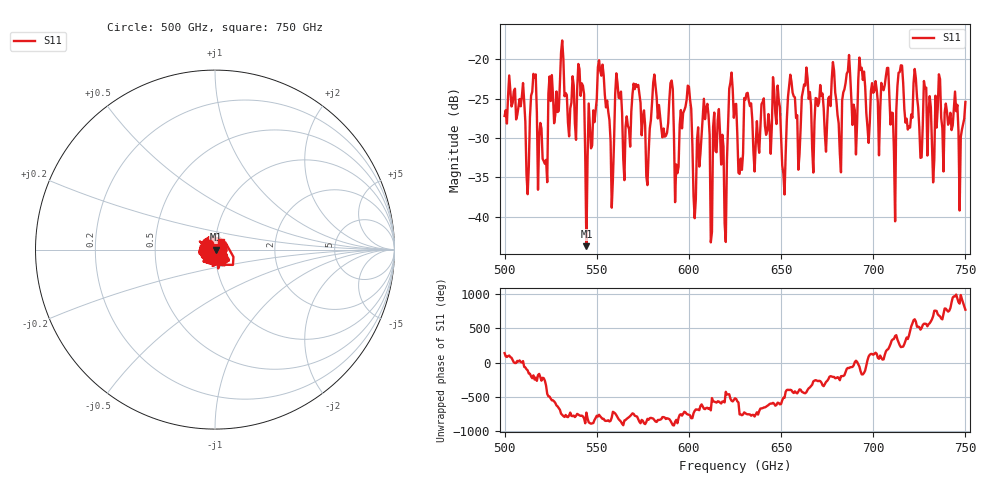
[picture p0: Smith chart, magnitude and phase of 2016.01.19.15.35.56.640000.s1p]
!Created with skrf (http://scikit-rf.org).
# GHz S RI R 50.0
!freq ReS11 ImS11
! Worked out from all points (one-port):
!   401 points, 500 GHz to 750 GHz, reference 50 ohm
!   lowest |S11| = -43.7 dB at 544.4 GHz (marker M1), VSWR 1.01, Z = 50.7 - j0.0728 ohm
!   |S11| at or under -10 dB: start of sweep to end of sweep
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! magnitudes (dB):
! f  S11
! 500 GHz  -27.2
! 512.5 GHz  -37.1
! 515.6 GHz  -21.9
! 521.9 GHz  -33.3
! 531.2 GHz  -17.6
! 541.2 GHz  -24.7
! 544.4 GHz  -43.7
! 551.9 GHz  -21.5
! 558.1 GHz  -38.8
! 562.5 GHz  -25.0
! 577.5 GHz  -36.0
! 590 GHz  -23.0
! 593.8 GHz  -34.5
! 599.4 GHz  -23.4
! 603.1 GHz  -40.2
! 609.4 GHz  -26.2
! 619.4 GHz  -40.9
! 622.5 GHz  -23.0
! 625 GHz  -25.8
! 628.1 GHz  -32.6
! 631.2 GHz  -24.3
! 646.9 GHz  -26.8
! 651.2 GHz  -34.5
! 656.2 GHz  -24.2
! 659.4 GHz  -34.0
! 687.5 GHz  -22.1
! 718.8 GHz  -28.9
! 750 GHz  -25.4
